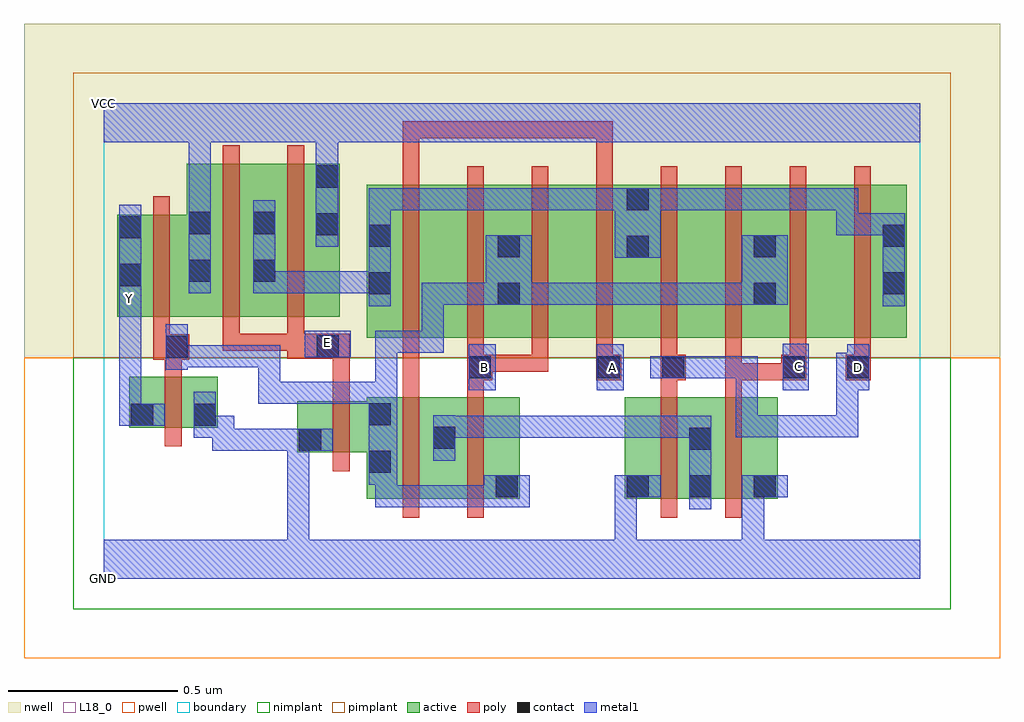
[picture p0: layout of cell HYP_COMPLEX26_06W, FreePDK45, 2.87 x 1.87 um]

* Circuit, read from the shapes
.subckt HYP_COMPLEX26_06W A B C D E GND VCC Y
M1 GND n1 Y VSUBS nfet w=0.15u l=0.05u
M2 n1 E GND VSUBS nfet w=0.15u l=0.05u
M3 n2 A n1 VSUBS nfet w=0.3u l=0.05u
M4 n1 B n2 VSUBS nfet w=0.3u l=0.05u
M5 n2 D GND VSUBS nfet w=0.3u l=0.05u
M6 GND C n2 VSUBS nfet w=0.3u l=0.05u
M7 VCC n1 Y n3 pfet w=0.3u l=0.05u
M8 n4 E VCC n3 pfet w=0.45u l=0.05u m=2
M9 n5 A n4 n3 pfet w=0.45u l=0.05u
M10 n1 B n5 n3 pfet w=0.45u l=0.05u
M11 n6 B n1 n3 pfet w=0.45u l=0.05u
M12 n4 A n6 n3 pfet w=0.45u l=0.05u
M13 n7 D n4 n3 pfet w=0.45u l=0.05u
M14 n1 C n7 n3 pfet w=0.45u l=0.05u
M15 n8 C n1 n3 pfet w=0.45u l=0.05u
M16 n4 D n8 n3 pfet w=0.45u l=0.05u
.ends

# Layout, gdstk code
import gdstk
lib = gdstk.Library(unit=1e-6, precision=1e-09)
def R(c, l, rs):  # rectangles x0, y0, x1, y1
    for r in rs: c.add(gdstk.rectangle(r[:2], r[2:], *l))
def A(c, l, x, y, w, h, nx, ny, dx, dy):  # array of equal rectangles
    R(c, l, [(x+i*dx, y+j*dy, x+i*dx+w, y+j*dy+h) for i in range(nx) for j in range(ny)])
active = (1, 0)
pwell = (2, 0)
nwell = (3, 0)
nimplant = (4, 0)
pimplant = (5, 0)
poly = (9, 0)
contact = (10, 0)
metal1 = (11, 0)
L18_0 = (18, 0)
boundary = (235, 0)

hyp_complex26_06w = lib.new_cell('HYP_COMPLEX26_06W')
A(hyp_complex26_06w, active, 0.775, 0.71, 0.225, 0.45, 3, 1, 0.38, 0)
R(hyp_complex26_06w, active, [(0.775,0.235,1.04,0.535), (0.775,0.235,0.85,0.522), (0.965,0.235,1.225,0.535), (1.15,0.235,1.225,0.535), (1.535,0.235,1.61,0.535), (1.535,0.235,1.795,0.535), (1.72,0.235,1.985,0.535), (1.72,0.235,1.795,0.45), (1.91,0.235,1.985,0.535), (0.965,0.295,1.04,0.452), (0.57,0.372,0.85,0.522), (0.57,0.372,0.645,0.522), (0.075,0.445,0.15,0.595), (0.075,0.445,0.335,0.595), (0.26,0.445,0.335,0.595), (0.775,0.71,0.85,1.155), (1,0.71,1.23,1.16), (1.155,0.71,1.23,1.07), (1.38,0.71,1.61,1.16), (1.535,0.71,1.61,1.155), (1.76,0.71,1.985,1.16), (1.91,0.71,2.14,1.16), (1.91,0.71,1.985,1.07), (2.14,0.71,2.365,1.16), (2.29,0.71,2.365,1.16), (0.04,0.772,0.115,1.072), (0.04,0.772,0.32,1.072), (0.245,0.772,0.51,1.222), (0.245,0.772,0.32,1.085), (0.435,0.772,0.695,1.222), (0.435,0.772,0.51,1.155), (0.62,0.772,0.695,1.222)])
R(hyp_complex26_06w, pwell, [(-0.235,-0.235,2.64,0.65)])
R(hyp_complex26_06w, nwell, [(-0.235,0.65,2.64,1.635)])
R(hyp_complex26_06w, nimplant, [(-0.09,-0.09,2.495,0.65)])
R(hyp_complex26_06w, pimplant, [(-0.09,0.65,2.495,1.49)])
A(hyp_complex26_06w, poly, 1.07, 0.61, 0.05, 0.095, 4, 1, 0.19, 0)
A(hyp_complex26_06w, poly, 0.88, 0.655, 0.05, 0.56, 8, 1, 0.19, 0)
R(hyp_complex26_06w, poly, [(0.88,0.18,0.93,0.59), (1.07,0.18,1.12,0.59), (1.64,0.18,1.69,0.59), (1.83,0.18,1.88,0.59), (0.675,0.317,0.725,0.577), (0.18,0.39,0.23,0.65), (0.675,0.527,0.725,0.697), (0.88,0.54,0.93,0.635), (1.07,0.54,1.12,0.635), (1.64,0.54,1.69,0.635), (1.83,0.54,1.88,0.635), (0.88,0.585,0.93,0.635), (0.88,0.585,0.93,0.705), (1.07,0.585,1.145,0.66), (1.45,0.585,1.525,0.66), (1.64,0.585,1.715,0.66), (1.83,0.585,2.045,0.635), (1.83,0.585,1.88,0.635), (1.83,0.585,1.88,0.635), (1.83,0.585,1.88,0.635), (1.83,0.585,1.88,0.705), (1.995,0.585,2.07,0.66), (2.185,0.585,2.26,0.66), (0.18,0.6,0.23,0.695), (1.095,0.61,1.31,0.66), (1.26,0.61,1.31,0.66), (1.26,0.61,1.31,0.66), (1.26,0.61,1.31,0.66), (2.02,0.61,2.07,0.705), (2.21,0.61,2.26,0.705), (0.145,0.645,0.252,0.72), (0.54,0.647,0.725,0.722), (0.145,0.67,0.195,0.767), (0.35,0.672,0.4,0.767), (0.35,0.672,0.4,0.722), (0.35,0.672,0.59,0.722), (0.54,0.672,0.59,0.767), (0.54,0.672,0.59,0.722), (0.54,0.672,0.59,0.722), (0.145,0.717,0.195,1.127), (0.35,0.717,0.4,1.277), (0.54,0.717,0.59,1.277), (0.88,1.165,0.93,1.347), (1.45,1.165,1.5,1.347), (0.88,1.297,0.93,1.347), (0.88,1.297,0.93,1.347), (0.88,1.297,0.93,1.347), (0.88,1.297,1.177,1.347), (1.127,1.297,1.177,1.347), (1.127,1.297,1.177,1.347), (1.127,1.297,1.177,1.347), (1.127,1.297,1.367,1.347), (1.317,1.297,1.367,1.347), (1.317,1.297,1.5,1.347), (1.45,1.297,1.5,1.347), (1.45,1.297,1.5,1.347), (1.45,1.297,1.5,1.347)])
R(hyp_complex26_06w, contact, [(1.155,0.24,1.22,0.305), (1.54,0.24,1.605,0.305), (1.725,0.24,1.79,0.305), (1.915,0.24,1.98,0.305), (0.78,0.312,0.845,0.377), (0.575,0.377,0.64,0.442), (1.725,0.38,1.79,0.445), (0.97,0.382,1.035,0.447), (0.08,0.45,0.145,0.515), (0.265,0.45,0.33,0.515), (0.78,0.452,0.845,0.517), (1.075,0.59,1.14,0.655), (1.455,0.59,1.52,0.655), (1.645,0.59,1.71,0.655), (2,0.59,2.065,0.655), (2.19,0.59,2.255,0.655), (0.182,0.65,0.247,0.715), (0.627,0.652,0.692,0.717), (1.16,0.807,1.225,0.872), (1.915,0.807,1.98,0.872), (0.78,0.837,0.845,0.902), (2.295,0.837,2.36,0.902), (0.045,0.862,0.11,0.927), (0.25,0.875,0.315,0.94), (0.44,0.875,0.505,0.94), (1.54,0.945,1.605,1.01), (1.16,0.947,1.225,1.012), (1.915,0.947,1.98,1.012), (0.78,0.977,0.845,1.042), (2.295,0.977,2.36,1.042), (0.045,1.002,0.11,1.067), (0.625,1.012,0.69,1.077), (0.25,1.015,0.315,1.08), (0.44,1.015,0.505,1.08), (1.54,1.085,1.605,1.15), (0.625,1.152,0.69,1.217)])
R(hyp_complex26_06w, metal1, [(0,0,2.405,0.115), (0.54,0.05,0.605,0.115), (0.54,0.05,0.605,0.115), (0.54,0.05,0.605,0.115), (0.54,0.05,0.605,0.115), (0.54,0.05,0.605,0.115), (0.54,0.05,0.605,0.115), (0.54,0.05,0.605,0.442), (1.505,0.05,1.57,0.115), (1.505,0.05,1.57,0.115), (1.505,0.05,1.57,0.115), (1.505,0.05,1.57,0.115), (1.505,0.05,1.57,0.305), (1.88,0.05,1.945,0.115), (1.88,0.05,1.945,0.115), (1.88,0.05,1.945,0.115), (1.88,0.05,1.945,0.115), (1.88,0.05,1.945,0.305), (1.725,0.205,1.79,0.48), (0.8,0.21,0.865,0.275), (0.8,0.21,0.982,0.275), (0.8,0.21,0.865,0.342), (0.917,0.21,0.982,0.275), (0.917,0.21,1.002,0.275), (0.937,0.21,1.002,0.275), (0.937,0.21,1.122,0.275), (1.057,0.21,1.122,0.275), (1.057,0.21,1.185,0.275), (1.12,0.21,1.255,0.305), (1.505,0.24,1.64,0.305), (1.88,0.24,2.015,0.305), (0.78,0.277,0.865,0.342), (0.78,0.277,0.845,0.58), (0.8,0.277,0.865,0.342), (0.8,0.277,0.865,0.73), (0.97,0.347,1.035,0.482), (0.32,0.377,0.605,0.442), (0.32,0.377,0.385,0.48), (0.54,0.377,0.675,0.442), (0.265,0.415,0.33,0.55), (0.265,0.415,0.385,0.48), (0.97,0.415,1.122,0.48), (1.057,0.415,1.122,0.48), (1.057,0.415,1.295,0.48), (1.23,0.415,1.295,0.48), (1.23,0.415,1.295,0.48), (1.23,0.415,1.295,0.48), (1.23,0.415,1.432,0.48), (1.367,0.415,1.57,0.48), (1.367,0.415,1.432,0.48), (1.367,0.415,1.432,0.48), (1.367,0.415,1.432,0.48), (1.505,0.415,1.57,0.48), (1.505,0.415,1.79,0.48), (1.725,0.415,1.79,0.48), (1.725,0.415,1.79,0.48), (1.862,0.417,2.065,0.482), (1.862,0.417,1.927,0.482), (1.862,0.417,1.927,0.655), (2,0.417,2.065,0.482), (2,0.417,2.222,0.482), (2.157,0.417,2.222,0.482), (2.157,0.417,2.222,0.665), (0.045,0.45,0.18,0.515), (0.045,0.45,0.11,0.822), (0.455,0.515,0.52,0.58), (0.455,0.515,0.657,0.58), (0.455,0.515,0.52,0.687), (0.592,0.515,0.657,0.58), (0.592,0.515,0.845,0.58), (1.075,0.555,1.155,0.69), (1.452,0.555,1.532,0.69), (2,0.555,2.077,0.692), (2.19,0.555,2.255,0.69), (1.61,0.59,1.745,0.655), (1.68,0.59,1.79,0.655), (1.725,0.59,1.79,0.655), (1.725,0.59,1.927,0.655), (1.862,0.59,1.927,0.655), (1.862,0.59,1.927,0.655), (1.862,0.59,1.927,0.655), (2.157,0.6,2.222,0.665), (2.157,0.6,2.255,0.665), (0.182,0.615,0.247,0.75), (0.182,0.622,0.247,0.687), (0.182,0.622,0.247,0.687), (0.182,0.622,0.52,0.687), (0.455,0.622,0.52,0.687), (0.455,0.622,0.52,0.687), (0.455,0.622,0.52,0.687), (0.592,0.652,0.727,0.73), (0.8,0.665,0.865,0.73), (0.8,0.665,0.985,0.73), (0.92,0.665,0.985,0.73), (0.92,0.665,1.002,0.73), (0.937,0.665,1.002,0.73), (0.937,0.665,1.002,0.872), (0.045,0.757,0.11,0.892), (0.78,0.802,0.845,1.077), (2.295,0.802,2.36,1.077), (0.937,0.807,1.002,0.872), (0.937,0.807,1.122,0.872), (1.057,0.807,1.122,0.872), (1.057,0.807,1.19,0.872), (1.125,0.807,1.26,1.012), (1.195,0.807,1.26,0.872), (1.195,0.807,1.26,0.872), (1.195,0.807,1.432,0.872), (1.367,0.807,1.432,0.872), (1.367,0.807,1.432,0.872), (1.367,0.807,1.432,0.872), (1.367,0.807,1.652,0.872), (1.587,0.807,1.79,0.872), (1.587,0.807,1.652,0.872), (1.725,0.807,1.79,0.872), (1.725,0.807,1.79,0.872), (1.725,0.807,1.79,0.872), (1.725,0.807,1.927,0.872), (1.862,0.807,1.927,0.872), (1.862,0.807,1.945,0.872), (1.88,0.807,2.015,1.012), (0.045,0.827,0.11,1.102), (0.045,0.827,0.11,0.892), (0.25,0.84,0.315,1.115), (0.44,0.84,0.505,1.115), (0.44,0.84,0.657,0.905), (0.592,0.84,0.657,0.905), (0.592,0.84,0.657,0.905), (0.592,0.84,0.657,0.905), (0.592,0.84,0.845,0.905), (1.505,0.945,1.64,1.15), (0.625,0.977,0.69,1.252), (0.78,1.012,0.845,1.15), (2.157,1.012,2.36,1.077), (2.157,1.012,2.222,1.077), (2.157,1.012,2.222,1.077), (2.157,1.012,2.222,1.077), (2.157,1.012,2.222,1.15), (0.25,1.05,0.315,1.35), (0.78,1.085,0.845,1.15), (0.78,1.085,0.982,1.15), (0.917,1.085,0.982,1.15), (0.917,1.085,1.047,1.15), (0.982,1.085,1.047,1.15), (0.982,1.085,1.122,1.15), (1.057,1.085,1.122,1.15), (1.057,1.085,1.295,1.15), (1.23,1.085,1.295,1.15), (1.23,1.085,1.295,1.15), (1.23,1.085,1.295,1.15), (1.23,1.085,1.432,1.15), (1.367,1.085,1.57,1.15), (1.367,1.085,1.432,1.15), (1.367,1.085,1.432,1.15), (1.367,1.085,1.432,1.15), (1.575,1.085,1.79,1.15), (1.725,1.085,1.79,1.15), (1.725,1.085,1.79,1.15), (1.725,1.085,1.79,1.15), (1.725,1.085,1.927,1.15), (1.862,1.085,1.927,1.15), (1.862,1.085,2.085,1.15), (2.02,1.085,2.085,1.15), (2.02,1.085,2.085,1.15), (2.02,1.085,2.085,1.15), (2.02,1.085,2.222,1.15), (2.157,1.085,2.222,1.15), (0.625,1.187,0.69,1.35), (0,1.285,2.405,1.4), (0.25,1.285,0.315,1.35), (0.25,1.285,0.315,1.35), (0.625,1.285,0.69,1.35), (0.625,1.285,0.69,1.35)])
R(hyp_complex26_06w, L18_0, [(0,0,2.405,0.115), (0.54,0.05,0.605,0.115), (0.54,0.05,0.605,0.115), (0.54,0.05,0.605,0.115), (0.54,0.05,0.605,0.115), (0.54,0.05,0.605,0.115), (0.54,0.05,0.605,0.115), (0.54,0.05,0.605,0.442), (1.505,0.05,1.57,0.115), (1.505,0.05,1.57,0.115), (1.505,0.05,1.57,0.115), (1.505,0.05,1.57,0.115), (1.505,0.05,1.57,0.305), (1.88,0.05,1.945,0.115), (1.88,0.05,1.945,0.115), (1.88,0.05,1.945,0.115), (1.88,0.05,1.945,0.115), (1.88,0.05,1.945,0.305), (1.505,0.24,1.64,0.305), (1.88,0.24,2.015,0.305), (0.32,0.377,0.385,0.48), (0.32,0.377,0.605,0.442), (0.54,0.377,0.675,0.442), (0.265,0.415,0.33,0.55), (0.265,0.415,0.385,0.48), (1.862,0.417,1.927,0.482), (1.862,0.417,1.927,0.655), (1.862,0.417,2.065,0.482), (2,0.417,2.065,0.482), (2,0.417,2.222,0.482), (2.157,0.417,2.222,0.482), (2.157,0.417,2.222,0.665), (0.045,0.45,0.18,0.515), (0.045,0.45,0.11,0.822), (1.075,0.555,1.155,0.69), (1.452,0.555,1.532,0.69), (2,0.555,2.077,0.692), (2.19,0.555,2.255,0.69), (1.09,0.59,1.155,0.655), (1.467,0.59,1.532,0.655), (1.61,0.59,1.745,0.655), (1.68,0.59,1.79,0.655), (1.725,0.59,1.79,0.655), (1.725,0.59,1.927,0.655), (1.862,0.59,1.927,0.655), (1.862,0.59,1.927,0.655), (1.862,0.59,1.927,0.655), (2.19,0.59,2.255,0.655), (2.012,0.592,2.077,0.657), (2.157,0.6,2.222,0.665), (2.157,0.6,2.255,0.665), (0.592,0.652,0.727,0.73), (0.627,0.665,0.692,0.73), (0.045,0.757,0.11,0.892), (0.045,0.792,0.11,0.857), (0.045,0.827,0.11,1.102), (0.045,0.827,0.11,0.892), (0.25,0.84,0.315,1.115), (0.625,0.977,0.69,1.252), (0.25,1.05,0.315,1.35), (0.625,1.187,0.69,1.35), (0,1.285,2.405,1.4), (0.25,1.285,0.315,1.35), (0.25,1.285,0.315,1.35), (0.625,1.285,0.69,1.35), (0.625,1.285,0.69,1.35)])
R(hyp_complex26_06w, boundary, [(0,0,2.405,1.4)])
hyp_complex26_06w.add(gdstk.Label('A', (1.5,0.622), layer=11, texttype=0))
hyp_complex26_06w.add(gdstk.Label('B', (1.122,0.622), layer=11, texttype=0))
hyp_complex26_06w.add(gdstk.Label('C', (2.045,0.625), layer=11, texttype=0))
hyp_complex26_06w.add(gdstk.Label('D', (2.222,0.622), layer=11, texttype=0))
hyp_complex26_06w.add(gdstk.Label('E', (0.66,0.697), layer=11, texttype=0))
hyp_complex26_06w.add(gdstk.Label('Y', (0.077,0.825), layer=11, texttype=0))
hyp_complex26_06w.add(gdstk.Label('VCC', (0,1.4), layer=11, texttype=0))
hyp_complex26_06w.add(gdstk.Label('GND', (0,0), layer=11, texttype=0))

lib.write_gds('HYP_COMPLEX26_06W.gds')
